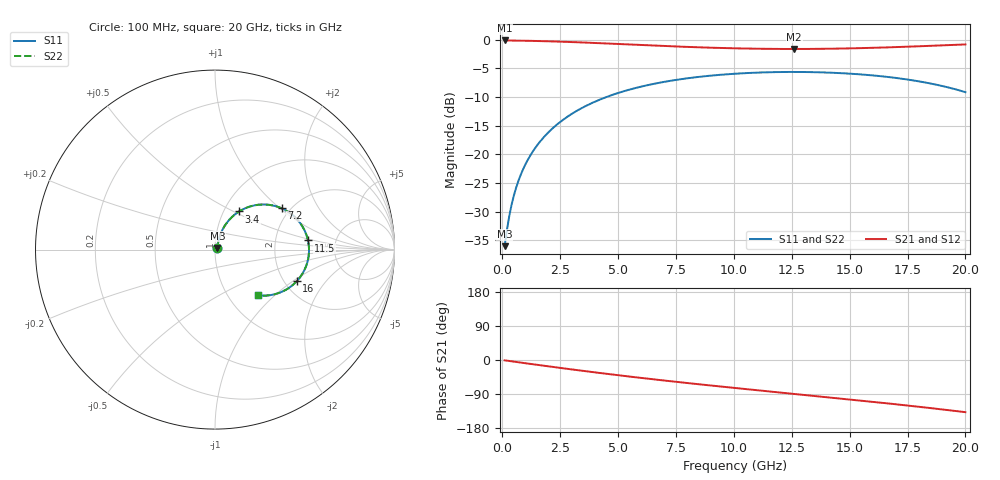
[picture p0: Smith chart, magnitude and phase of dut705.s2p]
! Touchstone file exported from HFSS 2026.1.0
!  File:  C:/ffzhzh/LocalFiles/Ansys_Project_Files/temp_train_TSV_RDL_705_1783199533_55132.aedt
!  Generated:  05:21:43 AM Jul  5, 2026
!  Design:  TSV_RDL
!  Project:  temp_train_TSV_RDL_705_1783199533_55132
! Variables:
!  h_bsmrdl = 2.1um
!  h_ox = 20um
!  h_rdl = 5um
!  h_sub = 67.59um
!  h_tmrdl = 3.91um
!  h_tsv = 67.59um
!  h_via = 3um
!  l_bsmrdl = 229.88um
!  l_sub = 2416.63um
!  l_tmrdl = 300.48um
!  m_sub = 200um
!  pitch = 49.76um
!  r_tsv = 7.99um
!  s_tmrdl = 10um
!  w_bsmrdl = 16.07um
!  w_sub = 500um
!  w_tmrdl = 25.62um
!  x_tsv_center1 = 313.29um
!  x_tsv_center2 = 559.24um
!  x_tsv_center3 = 885.34um
!  x_tsv_center4 = 1131.29um
!  x_tsv_center5 = 1457.39um
!  x_tsv_center6 = 1703.34um
# GHz S MA R 50.000000
! Terminal data exported
! Port[1] = TM_RDL1_1_T1
! Port[2] = TM_RDL5_1_T1
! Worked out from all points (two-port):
!   200 points, 100 MHz to 20 GHz, reference 50 ohm
!   highest |S21| = -0.12 dB at 100 MHz (marker M1); lowest = -1.6 dB at 12.6 GHz (marker M2)
!   |S21| within 3 dB of the highest: start of sweep to end of sweep
!   lowest |S11| = -36.0 dB at 100 MHz (marker M3), VSWR 1.03, Z = 51.3 + j0.866 ohm
!   |S11| at or under -10 dB: start of sweep to 4.495 GHz
!   |S22| runs from -36.0 to -5.6 dB; largest |S21 - S12| = 1.7e-13
!   S11 on the Smith chart (normalised r, x): 100 MHz: 1.03, +0.02; 3.4 GHz: 1.18, +0.53; 7.2 GHz: 1.80, +1.03; 11.5 GHz: 3.10, +0.44; 16 GHz: 2.33, -1.07; 20 GHz: 1.36, -0.79
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0.1  0.01576 32.4  0.9868 -0.9  0.9868 -0.9  0.01576 32.4
! Gamma 0 0 0 0
! Port Impedance 50 0 50 0
0.3  0.02881 58.3  0.9857 -2.6  0.9857 -2.6  0.02881 58.3
0.5  0.04367 66.1  0.9845 -4.3  0.9845 -4.3  0.04367 66.1
0.8  0.06652 69.8  0.9825 -6.9  0.9825 -6.9  0.06652 69.8
1.1  0.08938 70.3  0.9801 -9.4  0.9801 -9.4  0.08938 70.3
1.6  0.1269 68.8  0.9752 -13.5  0.9752 -13.5  0.1269 68.8
2.1  0.1633 66.2  0.9691 -17.6  0.9691 -17.6  0.1633 66.2
2.7  0.2053 62.4  0.9606 -22.5  0.9606 -22.5  0.2053 62.4
3.4  0.2513 57.7  0.9491 -28.0  0.9491 -28.0  0.2513 57.7
3.5  0.2576 57.0  0.9473 -28.8  0.9473 -28.8  0.2576 57.0
5  0.343 46.6  0.9193 -40.1  0.9193 -40.1  0.343 46.6
6.8  0.4222 34.5  0.8859 -52.9  0.8859 -52.9  0.4222 34.5
7.2  0.4364 31.9  0.8791 -55.6  0.8791 -55.6  0.4364 31.9
8.7  0.4795 22.4  0.8569 -65.4  0.8569 -65.4  0.4795 22.4
10.1  0.5061 13.9  0.8419 -74.2  0.8419 -74.2  0.5061 13.9
11.5  0.5206 5.6  0.8334 -82.7  0.8334 -82.7  0.5206 5.6
12.6  0.5239 -0.8  0.8314 -89.4  0.8314 -89.4  0.5239 -0.8
13.4  0.5218 -5.5  0.8326 -94.2  0.8326 -94.2  0.5218 -5.5
16  0.4887 -21.0  0.8509 -110.4  0.8509 -110.4  0.4887 -21.0
16.7  0.4724 -25.3  0.8593 -114.9  0.8593 -114.9  0.4724 -25.4
18.4  0.4189 -36.2  0.8842 -126.2  0.8842 -126.2  0.4188 -36.2
20  0.349 -46.8  0.9109 -137.6  0.9109 -137.6  0.349 -46.8
